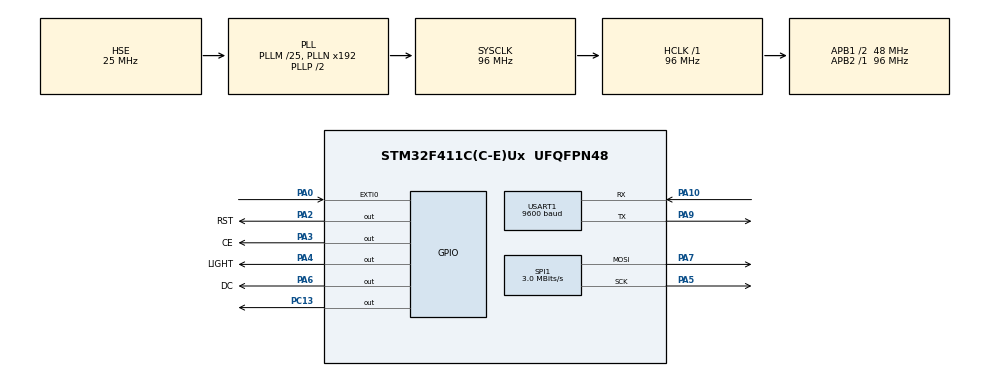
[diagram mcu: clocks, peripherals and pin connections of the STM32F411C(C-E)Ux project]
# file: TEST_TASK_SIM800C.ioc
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Mcu.Family=STM32F4
Mcu.Name=STM32F411C(C-E)Ux
Mcu.Package=UFQFPN48
NVIC.EXTI0_IRQn=true\:0\:0\:false\:false\:true\:true\:true\:true
NVIC.PriorityGroup=NVIC_PRIORITYGROUP_4
NVIC.USART1_IRQn=true\:0\:0\:false\:false\:true\:true\:true\:true
PA0-WKUP.GPIO_ModeDefaultEXTI=GPIO_MODE_IT_FALLING
PA0-WKUP.GPIO_PuPd=GPIO_PULLUP
PA0-WKUP.Signal=GPXTI0
PA10.Mode=Asynchronous
PA10.Signal=USART1_RX
PA2.GPIO_Label=RST
PA2.PinState=GPIO_PIN_SET
PA2.Signal=GPIO_Output
PA3.GPIO_Label=CE
PA3.PinState=GPIO_PIN_SET
PA3.Signal=GPIO_Output
PA4.GPIO_Label=LIGHT
PA4.PinState=GPIO_PIN_SET
PA4.Signal=GPIO_Output
PA5.Mode=TX_Only_Simplex_Unidirect_Master
PA5.Signal=SPI1_SCK
PA6.GPIO_Label=DC
PA6.PinState=GPIO_PIN_SET
PA6.Signal=GPIO_Output
PA7.Mode=TX_Only_Simplex_Unidirect_Master
PA7.Signal=SPI1_MOSI
PA9.Mode=Asynchronous
PA9.Signal=USART1_TX
PC13-ANTI_TAMP.Signal=GPIO_Output
PH0\ -\ OSC_IN.Mode=HSE-External-Oscillator
PH0\ -\ OSC_IN.Signal=RCC_OSC_IN
PH1\ -\ OSC_OUT.Mode=HSE-External-Oscillator
PH1\ -\ OSC_OUT.Signal=RCC_OSC_OUT
ProjectManager.HeapSize=0x200
ProjectManager.StackSize=0x400
ProjectManager.TargetToolchain=CMake
RCC.48MHZClocksFreq_Value=48000000
RCC.AHBFreq_Value=96000000
RCC.APB1CLKDivider=RCC_HCLK_DIV2
RCC.APB1Freq_Value=48000000
RCC.APB1TimFreq_Value=96000000
RCC.APB2Freq_Value=96000000
RCC.APB2TimFreq_Value=96000000
RCC.CortexFreq_Value=96000000
RCC.HCLKFreq_Value=96000000
RCC.HSE_VALUE=25000000
RCC.HSI_VALUE=16000000
RCC.LSE_VALUE=32768
RCC.PLLM=25
RCC.PLLSourceVirtual=RCC_PLLSOURCE_HSE
RCC.SYSCLKFreq_VALUE=96000000
RCC.SYSCLKSource=RCC_SYSCLKSOURCE_PLLCLK
RCC.VCOOutputFreq_Value=192000000
SPI1.BaudRatePrescaler=SPI_BAUDRATEPRESCALER_32
SPI1.CalculateBaudRate=3.0 MBits/s
SPI1.Direction=SPI_DIRECTION_2LINES
SPI1.Mode=SPI_MODE_MASTER
SPI1.VirtualType=VM_MASTER
USART1.BaudRate=9600
USART1.VirtualMode=VM_ASYNC
board=custom

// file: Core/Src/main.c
/* USER CODE BEGIN Header */
/**
  ******************************************************************************
  * @file           : main.c
  * @brief          : Main program body
  ******************************************************************************
  * @attention
  *
  * Copyright (c) 2026 STMicroelectronics.
  * All rights reserved.
  *
  * This software is licensed under terms that can be found in the LICENSE file
  * in the root directory of this software component.
  * If no LICENSE file comes with this software, it is provided AS-IS.
  *
  ******************************************************************************
  */
/* USER CODE END Header */
#include "main.h"

/* USER CODE BEGIN Includes */
#include <stdint.h>
#include <string.h>
#include "n51.h"
#include "fool_protection.h"
#include "stm32f4xx_hal.h"
#include "stm32f4xx_hal_gpio.h"
#include "stm32f4xx_hal_spi.h"
#include "stm32f4xx_hal_uart.h"
#include "sim800.h"
/* USER CODE END Includes */

SPI_HandleTypeDef hspi1;

UART_HandleTypeDef huart1;

/* USER CODE BEGIN PV */

volatile City current_city = Lviv;
volatile uint8_t city_changed = 0;
const uint32_t request_timeout_ms = 15000;

int year, month, day_n, hour, minute;

float temperature = 0.0f;
float windspeed = 0.0f;
int weathercode = 0;
int is_day = 0;

uint16_t update_timer = 20000;

bool initialized = false;

volatile char rx_byte;
char rx_line[512];
uint16_t line_idx = 0;

uint32_t last_weather_update = 0;

/* USER CODE END PV */

void SystemClock_Config(void);
static void MX_GPIO_Init(void);
static void MX_USART1_UART_Init(void);
static void MX_SPI1_Init(void);
/* USER CODE BEGIN PFP */

void HAL_GPIO_EXTI_Callback(uint16_t GPIO_Pin);
void HAL_UART_RxCpltCallback(UART_HandleTypeDef *huart);
extern void updateDisplay();
extern void error_display();
extern void parseWeatherData(const char* json);
extern void button_irq_enable(void);
extern void button_irq_disable(void);
extern void weather_request_begin(void);
extern void weather_request_end(void);

/* USER CODE END PFP */

int main(void)
{

  /* MCU Configuration--------------------------------------------------------*/

  /* Reset of all peripherals, Initializes the Flash interface and the Systick. */
  HAL_Init();

  /* Configure the system clock */
  SystemClock_Config();

  /* Initialize all configured peripherals */
  MX_GPIO_Init();
  MX_USART1_UART_Init();
  MX_SPI1_Init();
  /* USER CODE BEGIN 2 */
  reset();
  HAL_Delay(10);
  init();
  clear();
  sim800_init();

  HAL_UART_Receive_IT(&huart1, (uint8_t*)&rx_byte, 1);

  /* USER CODE END 2 */

  /* Infinite loop */
  while (1)
  {

    /* USER CODE BEGIN 3 */

    if (!initialized && !request_in_flight) {
      set_cursor(0, 0);
      print_string("Updating...");
      weather_request_begin();
      sim800_get_weather("Lviv");
      initialized = true;
      last_weather_update = HAL_GetTick();
    }

    if (city_changed && !request_in_flight)
    {
      city_changed = 0;
      clear();
      set_cursor(0, 0);
      print_string("Changing");
      set_cursor(0, 1);
      print_string("City...");
      weather_request_begin();
      if (current_city == Lviv) {
        sim800_get_weather("Lviv");
      } else if (current_city == Kyiv) {
        sim800_get_weather("Kyiv");
      } else if (current_city == Odesa) {
        sim800_get_weather("Odesa");
      }
      last_weather_update = HAL_GetTick();
    }
    if (HAL_GetTick() - last_weather_update > update_timer && !request_in_flight) {
      weather_request_begin();
      sim800_get_weather(current_city == Lviv ? "Lviv" : current_city == Kyiv ? "Kyiv" : "Odesa");
      last_weather_update = HAL_GetTick();
    }
    if (request_in_flight && (HAL_GetTick() - request_started_at > request_timeout_ms)) {
      weather_request_end();
      updateDisplay();
    }

  }
  /* USER CODE END 3 */
}

void SystemClock_Config(void)
{
  RCC_OscInitTypeDef RCC_OscInitStruct = {0};
  RCC_ClkInitTypeDef RCC_ClkInitStruct = {0};

  /** Configure the main internal regulator output voltage
  */
  __HAL_RCC_PWR_CLK_ENABLE();
  __HAL_PWR_VOLTAGESCALING_CONFIG(PWR_REGULATOR_VOLTAGE_SCALE1);

  /** Initializes the RCC Oscillators according to the specified parameters
  * in the RCC_OscInitTypeDef structure.
  */
  RCC_OscInitStruct.OscillatorType = RCC_OSCILLATORTYPE_HSE;
  RCC_OscInitStruct.HSEState = RCC_HSE_ON;
  RCC_OscInitStruct.PLL.PLLState = RCC_PLL_ON;
  RCC_OscInitStruct.PLL.PLLSource = RCC_PLLSOURCE_HSE;
  RCC_OscInitStruct.PLL.PLLM = 25;
  RCC_OscInitStruct.PLL.PLLN = 192;
  RCC_OscInitStruct.PLL.PLLP = RCC_PLLP_DIV2;
  RCC_OscInitStruct.PLL.PLLQ = 4;
  if (HAL_RCC_OscConfig(&RCC_OscInitStruct) != HAL_OK)
  {
    Error_Handler();
  }

  /** Initializes the CPU, AHB and APB buses clocks
  */
  RCC_ClkInitStruct.ClockType = RCC_CLOCKTYPE_HCLK|RCC_CLOCKTYPE_SYSCLK
                              |RCC_CLOCKTYPE_PCLK1|RCC_CLOCKTYPE_PCLK2;
  RCC_ClkInitStruct.SYSCLKSource = RCC_SYSCLKSOURCE_PLLCLK;
  RCC_ClkInitStruct.AHBCLKDivider = RCC_SYSCLK_DIV1;
  RCC_ClkInitStruct.APB1CLKDivider = RCC_HCLK_DIV2;
  RCC_ClkInitStruct.APB2CLKDivider = RCC_HCLK_DIV1;

  if (HAL_RCC_ClockConfig(&RCC_ClkInitStruct, FLASH_LATENCY_3) != HAL_OK)
  {
    Error_Handler();
  }
}

static void MX_SPI1_Init(void)
{

  /* SPI1 parameter configuration*/
  hspi1.Instance = SPI1;
  hspi1.Init.Mode = SPI_MODE_MASTER;
  hspi1.Init.Direction = SPI_DIRECTION_2LINES;
  hspi1.Init.DataSize = SPI_DATASIZE_8BIT;
  hspi1.Init.CLKPolarity = SPI_POLARITY_LOW;
  hspi1.Init.CLKPhase = SPI_PHASE_1EDGE;
  hspi1.Init.NSS = SPI_NSS_SOFT;
  hspi1.Init.BaudRatePrescaler = SPI_BAUDRATEPRESCALER_32;
  hspi1.Init.FirstBit = SPI_FIRSTBIT_MSB;
  hspi1.Init.TIMode = SPI_TIMODE_DISABLE;
  hspi1.Init.CRCCalculation = SPI_CRCCALCULATION_DISABLE;
  hspi1.Init.CRCPolynomial = 10;
  if (HAL_SPI_Init(&hspi1) != HAL_OK)
  {
    Error_Handler();
  }

}

static void MX_USART1_UART_Init(void)
{

  huart1.Instance = USART1;
  huart1.Init.BaudRate = 9600;
  huart1.Init.WordLength = UART_WORDLENGTH_8B;
  huart1.Init.StopBits = UART_STOPBITS_1;
  huart1.Init.Parity = UART_PARITY_NONE;
  huart1.Init.Mode = UART_MODE_TX_RX;
  huart1.Init.HwFlowCtl = UART_HWCONTROL_NONE;
  huart1.Init.OverSampling = UART_OVERSAMPLING_16;
  if (HAL_UART_Init(&huart1) != HAL_OK)
  {
    Error_Handler();
  }

}

static void MX_GPIO_Init(void)
{
  GPIO_InitTypeDef GPIO_InitStruct = {0};

  /* GPIO Ports Clock Enable */
  __HAL_RCC_GPIOC_CLK_ENABLE();
  __HAL_RCC_GPIOH_CLK_ENABLE();
  __HAL_RCC_GPIOA_CLK_ENABLE();

  /*Configure GPIO pin Output Level */
  HAL_GPIO_WritePin(GPIOC, GPIO_PIN_13, GPIO_PIN_RESET);

  /*Configure GPIO pin Output Level */
  HAL_GPIO_WritePin(GPIOA, RST_Pin|CE_Pin|LIGHT_Pin|DC_Pin, GPIO_PIN_SET);

  /*Configure GPIO pin : PC13 */
  GPIO_InitStruct.Pin = GPIO_PIN_13;
  GPIO_InitStruct.Mode = GPIO_MODE_OUTPUT_PP;
  GPIO_InitStruct.Pull = GPIO_NOPULL;
  GPIO_InitStruct.Speed = GPIO_SPEED_FREQ_LOW;
  HAL_GPIO_Init(GPIOC, &GPIO_InitStruct);

  /*Configure GPIO pin : PA0 */
  GPIO_InitStruct.Pin = GPIO_PIN_0;
  GPIO_InitStruct.Mode = GPIO_MODE_IT_FALLING;
  GPIO_InitStruct.Pull = GPIO_PULLUP;
  HAL_GPIO_Init(GPIOA, &GPIO_InitStruct);

  /*Configure GPIO pins : RST_Pin CE_Pin LIGHT_Pin DC_Pin */
  GPIO_InitStruct.Pin = RST_Pin|CE_Pin|LIGHT_Pin|DC_Pin;
  GPIO_InitStruct.Mode = GPIO_MODE_OUTPUT_PP;
  GPIO_InitStruct.Pull = GPIO_NOPULL;
  GPIO_InitStruct.Speed = GPIO_SPEED_FREQ_LOW;
  HAL_GPIO_Init(GPIOA, &GPIO_InitStruct);

  /* EXTI interrupt init*/
  HAL_NVIC_SetPriority(EXTI0_IRQn, 0, 0);
  HAL_NVIC_EnableIRQ(EXTI0_IRQn);

}

/* USER CODE BEGIN 4 */

void HAL_UART_RxCpltCallback(UART_HandleTypeDef *huart)
{
  if (huart->Instance == USART1)
  {
    if (rx_byte == '\n' || rx_byte == '\r') {
      if (line_idx > 0) {
        rx_line[line_idx] = '\0';
        if (strstr(rx_line, "current_weather")) {
          parseWeatherData(rx_line);
        } else if (strstr(rx_line, "ERROR") && initialized) {
          error_display();
        }

        line_idx = 0;
      }
    } else {
      if (line_idx < 511) {
        rx_line[line_idx++] = rx_byte;
      } else {
        line_idx = 0;
      }
    }
    HAL_UART_Receive_IT(&huart1, (uint8_t*)&rx_byte, 1);
  }
}

void HAL_GPIO_EXTI_Callback(uint16_t GPIO_Pin)
{
  if (GPIO_Pin == GPIO_PIN_0)
  {
    if (request_in_flight) {
      return;
    }
    static uint32_t last_interrupt_time = 0;
    uint32_t current_time = HAL_GetTick();

    if ((current_time - last_interrupt_time) > 300)
    {
      if (current_city == Lviv) {
        current_city = Kyiv;
      } else if (current_city == Kyiv) {
        current_city = Odesa;
      } else {
        current_city = Lviv;
      }
      city_changed = 1;

      HAL_GPIO_TogglePin(GPIOC, GPIO_PIN_13);
      last_interrupt_time = current_time;
    }
  }
}
/* USER CODE END 4 */

void Error_Handler(void)
{
  __disable_irq();
  while (1)
  {
  }
}
